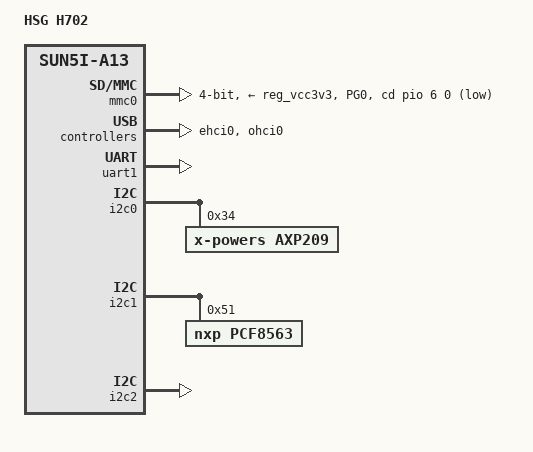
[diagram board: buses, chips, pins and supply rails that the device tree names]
/*
 * Copyright 2014 Chen-Yu Tsai <wens@csie.org
 *
 * The code contained herein is licensed under the GNU General Public
 * License. You may obtain a copy of the GNU General Public License
 * Version 2 or later at the following locations:
 *
 * http://www.opensource.org/licenses/gpl-license.html
 * http://www.gnu.org/copyleft/gpl.html
 */

/dts-v1/;
/include/ "sun5i-a13.dtsi"
/include/ "sunxi-common-regulators.dtsi"

/ {
	model = "HSG H702";
	compatible = "hsg,h702", "allwinner,sun5i-a13";

	soc@01c00000 {
		mmc0: mmc@01c0f000 {
			pinctrl-names = "default";
			pinctrl-0 = <&mmc0_pins_a>, <&mmc0_cd_pin_h702>;
			vmmc-supply = <&reg_vcc3v3>;
			bus-width = <4>;
			cd-gpios = <&pio 6 0 0>; /* PG0 */
			cd-inverted;
			status = "okay";
		};

		usbphy: phy@01c13400 {
			usb1_vbus-supply = <&reg_usb1_vbus>;
			status = "okay";
		};

		ehci0: usb@01c14000 {
			status = "okay";
		};

		ohci0: usb@01c14400 {
			status = "okay";
		};

		pinctrl@01c20800 {
			mmc0_cd_pin_h702: mmc0_cd_pin@0 {
				allwinner,pins = "PG0";
				allwinner,function = "gpio_in";
				allwinner,drive = <0>;
				allwinner,pull = <1>;
			};
		};

		uart1: serial@01c28400 {
			pinctrl-names = "default";
			pinctrl-0 = <&uart1_pins_b>;
			status = "okay";
		};

		i2c0: i2c@01c2ac00 {
			pinctrl-names = "default";
			pinctrl-0 = <&i2c0_pins_a>;
			status = "okay";

			axp209: pmic@34 {
				compatible = "x-powers,axp209";
				reg = <0x34>;
				interrupts = <0>;
				interrupt-controller;
				#interrupt-cells = <1>;
			};
		};

		i2c1: i2c@01c2b000 {
			pinctrl-names = "default";
			pinctrl-0 = <&i2c1_pins_a>;
			status = "okay";

			pcf8563: rtc@51 {
				compatible = "nxp,pcf8563";
				reg = <0x51>;
			};
		};

		i2c2: i2c@01c2b400 {
			pinctrl-names = "default";
			pinctrl-0 = <&i2c2_pins_a>;
			status = "okay";
		};
	};

	reg_usb1_vbus: usb1-vbus {
		/*
		 * There doesn't seem to be a GPIO for controlling
		 * vbus, despite the fex file saying otherwise.
		 * Override the original settings with empty ones.
		 */
		pinctrl-0 = <>;
		gpio = <>;
		status = "okay";
	};
};
